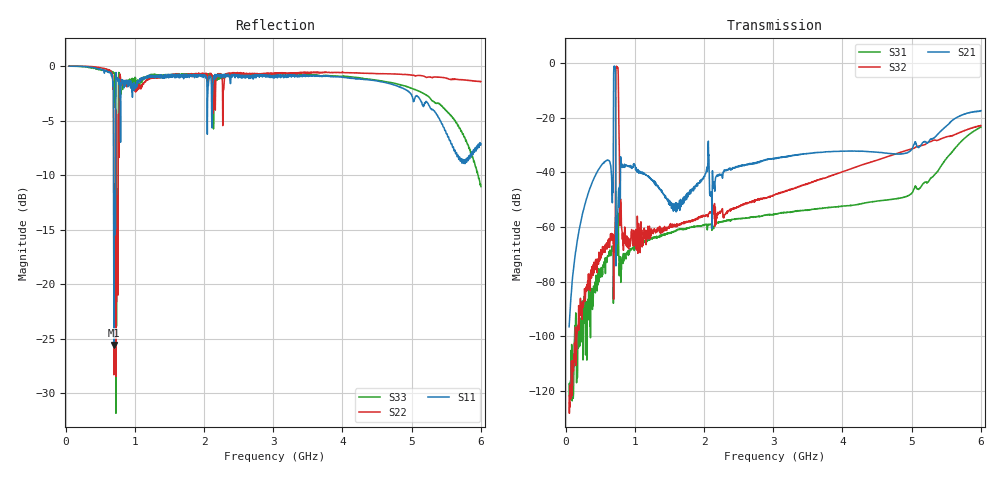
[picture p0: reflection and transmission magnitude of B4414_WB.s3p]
! Matrix data file written by TouchstoneData, EPCOS AG
! FILENAME: "B4414_WB.s3p"
! COMMENT: "measurement on PCB, wideband, matched"
! INFO: nport=3, nfreq=1601
! DATE: "Tue Jun 24 14:51:02 2014"
! USER: "Daniel Harbusch"
! port | pin | signal
!  1  |  3  |  TX
!  2  |  6  |  Antenna
!  3  |  1  |  RX
# MHZ S MA R 50
! freq  magS11 angS11  magS12 angS12  magS13 angS13  ...
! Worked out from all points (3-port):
!   1601 points, 50 MHz to 6 GHz, reference 50 ohm
!   strongest paths, dB at 50 MHz, 1.538 GHz, 3.025 GHz, 4.513 GHz, 6 GHz:
!     S21: -96.5, -51.7, -34.9, -32.7, -17.5
!     S32: -121.8, -59.7, -48.2, -35.4, -23.0
!     S31: -121.6, -62.0, -55.4, -50.5, -23.5
!   lowest |S11| = -25.6 dB at 697.1 MHz (marker M1), VSWR 1.11, Z = 49.6 + j5.24 ohm
!   |S11| at or under -10 dB: 692.4 MHz to 720.8 MHz (28.49 MHz wide, 4.03 % of centre)
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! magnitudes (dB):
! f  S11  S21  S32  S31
! 50 MHz  0.0  -96.5  -121.8  -121.6
! 656.2 MHz  -0.6  -39.1  -63.0  -69.2
! 697.1 MHz  -25.6  -1.2  -66.4  -64.8
! 749.1 MHz  -1.1  -56.6  -1.6  -60.0
! 812.3 MHz  -1.2  -36.9  -61.2  -73.3
! 897.9 MHz  -1.9  -37.8  -66.2  -69.5
! 1.586 GHz  -0.8  -52.3  -59.6  -61.3
! 3.025 GHz  -0.9  -34.9  -48.2  -55.4
! 4.94 GHz  -2.2  -32.9  -31.9  -48.7
! 6 GHz  -7.1  -17.5  -23.0  -23.5
